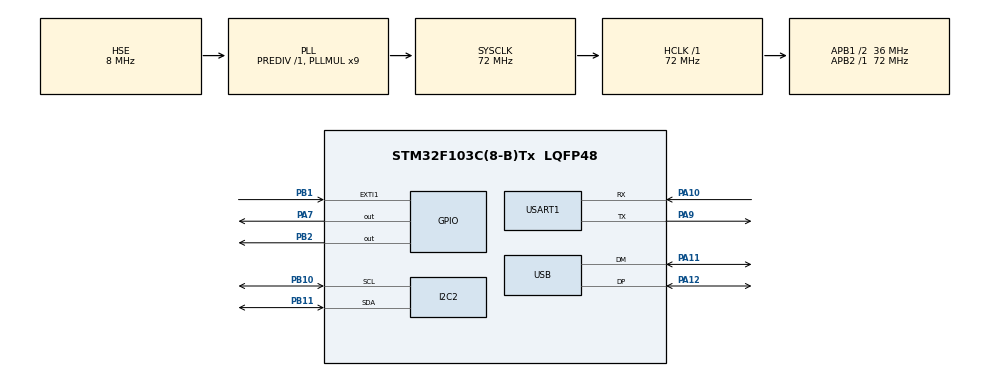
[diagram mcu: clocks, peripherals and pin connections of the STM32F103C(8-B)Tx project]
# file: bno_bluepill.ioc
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I2C2.I2C_Mode=I2C_Fast
Mcu.Family=STM32F1
Mcu.Name=STM32F103C(8-B)Tx
Mcu.Package=LQFP48
NVIC.EXTI1_IRQn=true\:0\:0\:false\:false\:true\:true\:true\:true
NVIC.PriorityGroup=NVIC_PRIORITYGROUP_4
NVIC.USB_LP_CAN1_RX0_IRQn=true\:0\:0\:false\:false\:true\:false\:true\:true
PA10.Mode=Asynchronous
PA10.Signal=USART1_RX
PA11.Mode=Device
PA11.Signal=USB_DM
PA12.Mode=Device
PA12.Signal=USB_DP
PA13.Mode=Serial_Wire
PA13.Signal=SYS_JTMS-SWDIO
PA14.Mode=Serial_Wire
PA14.Signal=SYS_JTCK-SWCLK
PA7.Signal=GPIO_Output
PA9.Mode=Asynchronous
PA9.Signal=USART1_TX
PB1.GPIO_ModeDefaultEXTI=GPIO_MODE_IT_FALLING
PB1.GPIO_PuPd=GPIO_PULLUP
PB1.Signal=GPXTI1
PB10.Mode=I2C
PB10.Signal=I2C2_SCL
PB11.Mode=I2C
PB11.Signal=I2C2_SDA
PB2.Signal=GPIO_Output
PD0-OSC_IN.Mode=HSE-External-Oscillator
PD0-OSC_IN.Signal=RCC_OSC_IN
PD1-OSC_OUT.Mode=HSE-External-Oscillator
PD1-OSC_OUT.Signal=RCC_OSC_OUT
ProjectManager.HeapSize=0x200
ProjectManager.StackSize=0x400
ProjectManager.TargetToolchain=STM32CubeIDE
RCC.AHBFreq_Value=72000000
RCC.APB1CLKDivider=RCC_HCLK_DIV2
RCC.APB1Freq_Value=36000000
RCC.APB1TimFreq_Value=72000000
RCC.APB2Freq_Value=72000000
RCC.APB2TimFreq_Value=72000000
RCC.CodegenConfigPeriph=true
RCC.DATA_CACHE_ENABLE=1
RCC.HCLKFreq_Value=72000000
RCC.INSTRUCTION_CACHE_ENABLE=1
RCC.LSE_Drive_CapabilityArg=+LSE_Drive_Capability
RCC.PLLMUL=RCC_PLL_MUL9
RCC.PLLSourceVirtual=RCC_PLLSOURCE_HSE
RCC.PWR_Regulator_Voltage_Scale=PWR_REGULATOR_VOLTAGE_SCALE1
RCC.SYSCLKFreq_VALUE=72000000
RCC.SYSCLKSource=RCC_SYSCLKSOURCE_PLLCLK
RCC.USBFreq_Value=48000000
RCC.USBPrescaler=RCC_USBCLKSOURCE_PLL_DIV1_5
USART1.VirtualMode=VM_ASYNC
USB_DEVICE.CLASS_NAME_FS=CDC
USB_DEVICE.PRODUCT_STRING_CDC_FS=STM32 comport harish
USB_DEVICE.VirtualMode=Cdc
USB_DEVICE.VirtualModeFS=Cdc_FS
VP_USB_DEVICE_VS_USB_DEVICE_CDC_FS.Mode=CDC_FS
board=custom

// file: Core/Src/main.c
/* USER CODE BEGIN Header */
/**
 ******************************************************************************
 * @file           : main.c
 * @brief          : Main program body
 ******************************************************************************
 * @attention
 *
 * Copyright (c) 2026 STMicroelectronics.
 * All rights reserved.
 *
 * This software is licensed under terms that can be found in the LICENSE file
 * in the root directory of this software component.
 * If no LICENSE file comes with this software, it is provided AS-IS.
 *
 ******************************************************************************
 */
/* USER CODE END Header */
#include "main.h"
#include "usb_device.h"

/* USER CODE BEGIN Includes */
#include <stdio.h>
#include "bno085.h"
#include <usbd_cdc_if.h>
/* USER CODE END Includes */

I2C_HandleTypeDef hi2c2;

UART_HandleTypeDef huart1;

/* USER CODE BEGIN PV */
BNO085 imu;
uint32_t previousPrintTime = 0;
volatile uint8_t imuDataReady = 0;
/* USER CODE END PV */

void SystemClock_Config(void);
static void MX_GPIO_Init(void);
static void MX_I2C2_Init(void);
static void MX_USART1_UART_Init(void);

/* USER CODE BEGIN 0 */
// Initialize the DWT cycle counter for microsecond timing
uint32_t DWT_Delay_Init(void) {
	/* Enable TRC */
	CoreDebug->DEMCR |= CoreDebug_DEMCR_TRCENA_Msk;
	/* Reset the clock cycle counter value */
	DWT->CYCCNT = 0;
	/* Enable clock cycle counter */
	DWT->CTRL |= DWT_CTRL_CYCCNTENA_Msk;

	// Quick check to make sure it started
	if (DWT->CYCCNT) {
		return 0; // Success
	} else {
		return 1; // Failed
	}
}

// The micros() function
uint32_t micros(void) {
	// DWT->CYCCNT counts CPU clock cycles.
	// Dividing by (SystemCoreClock / 1000000) converts cycles to microseconds.
	return DWT->CYCCNT / (SystemCoreClock / 1000000U);
}

// The millis() function
uint32_t millis(void) {
	// STM32 HAL already tracks milliseconds in the background!
	return HAL_GetTick();
}

void HAL_GPIO_EXTI_Callback(uint16_t GPIO_Pin) {
	if (GPIO_Pin == GPIO_PIN_1) {
		imuDataReady = 1;
	}
}
/* USER CODE END 0 */

int main(void) {

	/* MCU Configuration--------------------------------------------------------*/

	/* Reset of all peripherals, Initializes the Flash interface and the Systick. */
	HAL_Init();

	/* Configure the system clock */
	SystemClock_Config();

	/* Initialize all configured peripherals */
	MX_GPIO_Init();
	MX_I2C2_Init();
	MX_USART1_UART_Init();
	MX_USB_DEVICE_Init();
	/* USER CODE BEGIN 2 */

	/* USER CODE BEGIN 2 */

	/* USER CODE BEGIN 2 */

	BNO085_Init(&imu, &hi2c2, GPIOB, GPIO_PIN_1, GPIOA, GPIO_PIN_7);
	/* Drain startup packets for a short, bounded time */
	uint32_t start = HAL_GetTick();
	while (HAL_GetTick() - start < 1000) {
		if (imuDataReady) {
			imuDataReady = 0;
			BNO085_ReadPacket(&imu);
		}
	}
	/* enable reports */
	BNO085_EnableRotationVector(&imu, 10000);
	HAL_Delay(100);

	BNO085_EnableLinearAccel(&imu, 10000);
	HAL_Delay(100);

	DWT_Delay_Init();

	char msg[120];

	HAL_Delay(2000);
	int len = sprintf(msg, "Setup end\r\n");
	CDC_Transmit_FS((uint8_t*) msg, len);

	/* USER CODE END 2 */

	/* Infinite loop */
	/* USER CODE BEGIN WHILE */
	while (1) {
		BNO085_Process(&imu, &imuDataReady);

		if (millis() - previousPrintTime > 75) {
			previousPrintTime = millis();

			int len =
					sprintf(msg,
							"ax: %.2f ay: %.2f az: %.2f roll: %.2f pitch: %.2f yaw: %.2f\r\n",
							imu.ax, imu.ay, imu.az, imu.roll, imu.pitch,
							imu.yaw);

			CDC_Transmit_FS((uint8_t*) msg, len);
			HAL_GPIO_TogglePin(GPIOB, GPIO_PIN_2);
		}
	}
}
void SystemClock_Config(void) {
	RCC_OscInitTypeDef RCC_OscInitStruct = { 0 };
	RCC_ClkInitTypeDef RCC_ClkInitStruct = { 0 };
	RCC_PeriphCLKInitTypeDef PeriphClkInit = { 0 };

	/** Initializes the RCC Oscillators according to the specified parameters
	 * in the RCC_OscInitTypeDef structure.
	 */
	RCC_OscInitStruct.OscillatorType = RCC_OSCILLATORTYPE_HSE;
	RCC_OscInitStruct.HSEState = RCC_HSE_ON;
	RCC_OscInitStruct.HSEPredivValue = RCC_HSE_PREDIV_DIV1;
	RCC_OscInitStruct.HSIState = RCC_HSI_ON;
	RCC_OscInitStruct.PLL.PLLState = RCC_PLL_ON;
	RCC_OscInitStruct.PLL.PLLSource = RCC_PLLSOURCE_HSE;
	RCC_OscInitStruct.PLL.PLLMUL = RCC_PLL_MUL9;
	if (HAL_RCC_OscConfig(&RCC_OscInitStruct) != HAL_OK) {
		Error_Handler();
	}

	/** Initializes the CPU, AHB and APB buses clocks
	 */
	RCC_ClkInitStruct.ClockType = RCC_CLOCKTYPE_HCLK | RCC_CLOCKTYPE_SYSCLK
			| RCC_CLOCKTYPE_PCLK1 | RCC_CLOCKTYPE_PCLK2;
	RCC_ClkInitStruct.SYSCLKSource = RCC_SYSCLKSOURCE_PLLCLK;
	RCC_ClkInitStruct.AHBCLKDivider = RCC_SYSCLK_DIV1;
	RCC_ClkInitStruct.APB1CLKDivider = RCC_HCLK_DIV2;
	RCC_ClkInitStruct.APB2CLKDivider = RCC_HCLK_DIV1;

	if (HAL_RCC_ClockConfig(&RCC_ClkInitStruct, FLASH_LATENCY_2) != HAL_OK) {
		Error_Handler();
	}
	PeriphClkInit.PeriphClockSelection = RCC_PERIPHCLK_USB;
	PeriphClkInit.UsbClockSelection = RCC_USBCLKSOURCE_PLL_DIV1_5;
	if (HAL_RCCEx_PeriphCLKConfig(&PeriphClkInit) != HAL_OK) {
		Error_Handler();
	}
}

static void MX_I2C2_Init(void) {

	hi2c2.Instance = I2C2;
	hi2c2.Init.ClockSpeed = 400000;
	hi2c2.Init.DutyCycle = I2C_DUTYCYCLE_2;
	hi2c2.Init.OwnAddress1 = 0;
	hi2c2.Init.AddressingMode = I2C_ADDRESSINGMODE_7BIT;
	hi2c2.Init.DualAddressMode = I2C_DUALADDRESS_DISABLE;
	hi2c2.Init.OwnAddress2 = 0;
	hi2c2.Init.GeneralCallMode = I2C_GENERALCALL_DISABLE;
	hi2c2.Init.NoStretchMode = I2C_NOSTRETCH_DISABLE;
	if (HAL_I2C_Init(&hi2c2) != HAL_OK) {
		Error_Handler();
	}

}

static void MX_USART1_UART_Init(void) {

	huart1.Instance = USART1;
	huart1.Init.BaudRate = 115200;
	huart1.Init.WordLength = UART_WORDLENGTH_8B;
	huart1.Init.StopBits = UART_STOPBITS_1;
	huart1.Init.Parity = UART_PARITY_NONE;
	huart1.Init.Mode = UART_MODE_TX_RX;
	huart1.Init.HwFlowCtl = UART_HWCONTROL_NONE;
	huart1.Init.OverSampling = UART_OVERSAMPLING_16;
	if (HAL_UART_Init(&huart1) != HAL_OK) {
		Error_Handler();
	}

}

static void MX_GPIO_Init(void) {
	GPIO_InitTypeDef GPIO_InitStruct = { 0 };

	/* GPIO Ports Clock Enable */
	__HAL_RCC_GPIOD_CLK_ENABLE();
	__HAL_RCC_GPIOA_CLK_ENABLE();
	__HAL_RCC_GPIOB_CLK_ENABLE();

	/*Configure GPIO pin Output Level */
	HAL_GPIO_WritePin(GPIOA, GPIO_PIN_7, GPIO_PIN_RESET);

	/*Configure GPIO pin Output Level */
	HAL_GPIO_WritePin(GPIOB, GPIO_PIN_2, GPIO_PIN_RESET);

	/*Configure GPIO pin : PA7 */
	GPIO_InitStruct.Pin = GPIO_PIN_7;
	GPIO_InitStruct.Mode = GPIO_MODE_OUTPUT_PP;
	GPIO_InitStruct.Pull = GPIO_NOPULL;
	GPIO_InitStruct.Speed = GPIO_SPEED_FREQ_LOW;
	HAL_GPIO_Init(GPIOA, &GPIO_InitStruct);

	/*Configure GPIO pin : PB1 */
	GPIO_InitStruct.Pin = GPIO_PIN_1;
	GPIO_InitStruct.Mode = GPIO_MODE_IT_FALLING;
	GPIO_InitStruct.Pull = GPIO_PULLUP;
	HAL_GPIO_Init(GPIOB, &GPIO_InitStruct);

	/*Configure GPIO pin : PB2 */
	GPIO_InitStruct.Pin = GPIO_PIN_2;
	GPIO_InitStruct.Mode = GPIO_MODE_OUTPUT_PP;
	GPIO_InitStruct.Pull = GPIO_NOPULL;
	GPIO_InitStruct.Speed = GPIO_SPEED_FREQ_LOW;
	HAL_GPIO_Init(GPIOB, &GPIO_InitStruct);

	/* EXTI interrupt init*/
	HAL_NVIC_SetPriority(EXTI1_IRQn, 0, 0);
	HAL_NVIC_EnableIRQ(EXTI1_IRQn);

}

void Error_Handler(void) {
	__disable_irq();
	while (1) {
	}
}
#ifdef USE_FULL_ASSERT
	/**
	  * @brief  Reports the name of the source file and the source line number
	  *         where the assert_param error has occurred.
	  * @param  file: pointer to the source file name
	  * @param  line: assert_param error line source number
	  * @retval None
	  */
	void assert_failed(uint8_t *file, uint32_t line)
	{
	}
	#endif /* USE_FULL_ASSERT */
